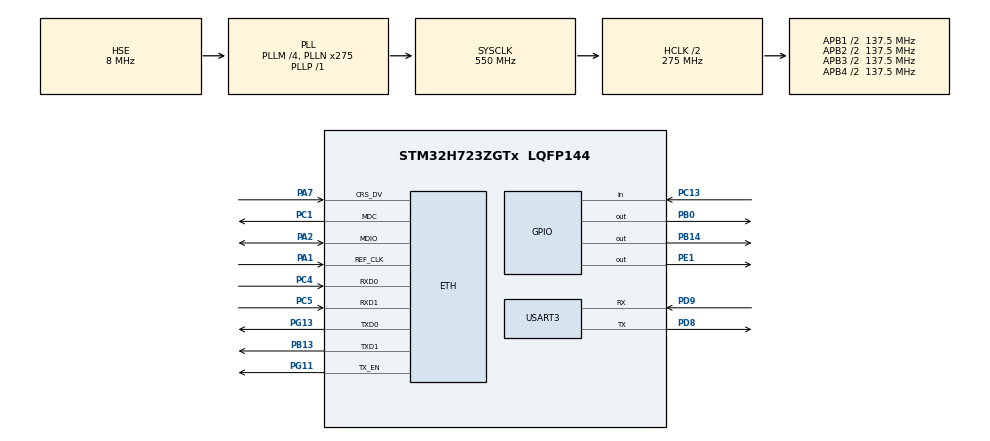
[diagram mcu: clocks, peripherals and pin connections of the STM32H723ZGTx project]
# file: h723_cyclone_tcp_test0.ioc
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CORTEX_M7.default_mode_Activation=1
Dma.Request0=USART3_RX
Dma.USART3_RX.0.Direction=DMA_PERIPH_TO_MEMORY
Dma.USART3_RX.0.EventEnable=DISABLE
Dma.USART3_RX.0.FIFOMode=DMA_FIFOMODE_DISABLE
Dma.USART3_RX.0.Instance=DMA1_Stream0
Dma.USART3_RX.0.MemDataAlignment=DMA_MDATAALIGN_BYTE
Dma.USART3_RX.0.MemInc=DMA_MINC_ENABLE
Dma.USART3_RX.0.Mode=DMA_CIRCULAR
Dma.USART3_RX.0.PeriphDataAlignment=DMA_PDATAALIGN_BYTE
Dma.USART3_RX.0.PeriphInc=DMA_PINC_DISABLE
Dma.USART3_RX.0.Polarity=HAL_DMAMUX_REQ_GEN_RISING
Dma.USART3_RX.0.Priority=DMA_PRIORITY_LOW
Dma.USART3_RX.0.RequestNumber=1
Dma.USART3_RX.0.SignalID=NONE
Dma.USART3_RX.0.SyncEnable=DISABLE
Dma.USART3_RX.0.SyncPolarity=HAL_DMAMUX_SYNC_NO_EVENT
Dma.USART3_RX.0.SyncRequestNumber=1
Dma.USART3_RX.0.SyncSignalID=NONE
ETH.MediaInterface=HAL_ETH_RMII_MODE
FREERTOS.INCLUDE_vTaskDelayUntil=1
FREERTOS.Tasks01=defaultTask,0,128,StartDefaultTask,Default,NULL,Dynamic,NULL,NULL
FREERTOS.configENABLE_FPU=1
FREERTOS.configGENERATE_RUN_TIME_STATS=1
FREERTOS.configRECORD_STACK_HIGH_ADDRESS=1
FREERTOS.configTOTAL_HEAP_SIZE=32768
FREERTOS.configUSE_COUNTING_SEMAPHORES=1
FREERTOS.configUSE_IDLE_HOOK=0
FREERTOS.configUSE_NEWLIB_REENTRANT=1
FREERTOS.configUSE_RECURSIVE_MUTEXES=1
FREERTOS.configUSE_STATS_FORMATTING_FUNCTIONS=1
FREERTOS.configUSE_TICK_HOOK=1
FREERTOS.configUSE_TRACE_FACILITY=1
Mcu.Family=STM32H7
Mcu.Name=STM32H723ZGTx
Mcu.Package=LQFP144
NUCLEO-H723ZG.BUTTON=1
NUCLEO-H723ZG.Bsp_Common_DEMO=true
NUCLEO-H723ZG.LD1=true
NUCLEO-H723ZG.LD2=true
NUCLEO-H723ZG.LD3=true
NUCLEO-H723ZG.VCP=false
NVIC.DMA1_Stream0_IRQn=true\:5\:0\:false\:false\:false\:true\:false\:true\:true
NVIC.EXTI15_10_IRQn=true\:5\:0\:false\:false\:true\:true\:false\:true\:true
NVIC.PriorityGroup=NVIC_PRIORITYGROUP_4
NVIC.TIM23_IRQn=true\:15\:0\:false\:false\:true\:false\:false\:true\:true
NVIC.TimeBase=TIM23_IRQn
NVIC.TimeBaseIP=TIM23
NVIC.USART3_IRQn=true\:5\:0\:false\:false\:false\:true\:true\:true\:true
Oryx-Embedded.Middleware.2.5.2.CycloneCommonCcCycloneCommonJjCompilerOoSupport=true
Oryx-Embedded.Middleware.2.5.2.CycloneCommonCcCycloneCommonJjDateOoTimeOoHelperOoRoutines=true
Oryx-Embedded.Middleware.2.5.2.CycloneCommonCcCycloneCommonJjRTOSOoPortJjFreeRTOSOoPort=true
Oryx-Embedded.Middleware.2.5.2.CycloneCommonCcCycloneCommonJjStringOoHelperOoRoutines=true
Oryx-Embedded.Middleware.2.5.2.CycloneTCPCcCycloneTCPJjCore=true
Oryx-Embedded.Middleware.2.5.2.CycloneTCPCcCycloneTCPJjDHCPJjDHCPOoClient=true
Oryx-Embedded.Middleware.2.5.2.CycloneTCPCcCycloneTCPJjDHCPJjDHCPOoServer=true
Oryx-Embedded.Middleware.2.5.2.CycloneTCPCcCycloneTCPJjDNSJjDNSOoClient=true
Oryx-Embedded.Middleware.2.5.2.CycloneTCPCcCycloneTCPJjDriversOoDdMACEeJjSTM32H7xx=true
Oryx-Embedded.Middleware.2.5.2.CycloneTCPCcCycloneTCPJjDriversOoDdPHYEeJjLAN8742=true
Oryx-Embedded.Middleware.2.5.2.CycloneTCPCcCycloneTCPJjHTTPJjHTTPOoClient=TCP
Oryx-Embedded.Middleware.2.5.2.CycloneTCPCcCycloneTCPJjIGMPJjIGMPOoHost=true
Oryx-Embedded.Middleware.2.5.2.CycloneTCPCcCycloneTCPJjIPv4JjAutoAaIP=true
Oryx-Embedded.Middleware.2.5.2.CycloneTCPCcCycloneTCPJjIPv4JjCore=true
Oryx-Embedded.Middleware.2.5.2.CycloneTCPCcCycloneTCPJjPingJjCore=true
Oryx-Embedded.Middleware.2.5.2.CycloneTCPCcCycloneTCPJjSocket=true
Oryx-Embedded.Middleware.2.5.2.CycloneTCPCcCycloneTCPJjTCP=true
Oryx-Embedded.Middleware.2.5.2.CycloneTCPCcCycloneTCPJjUDP=true
Oryx-Embedded.Middleware.2.5.2.CycloneTCPCcCycloneTCPJjmDNSJjmDNSOoClient=true
Oryx-Embedded.Middleware.2.5.2.CycloneTCPCcCycloneTCPJjmDNSJjmDNSOoResponder=true
PA1.Mode=RMII
PA1.Signal=ETH_REF_CLK
PA13(JTMS/SWDIO).GPIO_Label=SWDIO
PA13(JTMS/SWDIO).Mode=Serial_Wire
PA13(JTMS/SWDIO).Signal=DEBUG_JTMS-SWDIO
PA14(JTCK/SWCLK).GPIO_Label=SWCLK
PA14(JTCK/SWCLK).Mode=Serial_Wire
PA14(JTCK/SWCLK).Signal=DEBUG_JTCK-SWCLK
PA2.Mode=RMII
PA2.Signal=ETH_MDIO
PA7.Mode=RMII
PA7.Signal=ETH_CRS_DV
PB0.Signal=GPIO_Output
PB13.Mode=RMII
PB13.Signal=ETH_TXD1
PB14.Signal=GPIO_Output
PC1.Mode=RMII
PC1.Signal=ETH_MDC
PC13.Signal=GPIO_Input
PC14-OSC32_IN.Mode=LSE-External-Oscillator
PC14-OSC32_IN.Signal=RCC_OSC32_IN
PC15-OSC32_OUT.Mode=LSE-External-Oscillator
PC15-OSC32_OUT.Signal=RCC_OSC32_OUT
PC4.Mode=RMII
PC4.Signal=ETH_RXD0
PC5.Mode=RMII
PC5.Signal=ETH_RXD1
PD8.Mode=Asynchronous
PD8.Signal=USART3_TX
PD9.Mode=Asynchronous
PD9.Signal=USART3_RX
PE1.Signal=GPIO_Output
PG11.Mode=RMII
PG11.Signal=ETH_TX_EN
PG13.Mode=RMII
PG13.Signal=ETH_TXD0
PH0-OSC_IN.Mode=HSE-External-Clock-Source
PH0-OSC_IN.Signal=RCC_OSC_IN
ProjectManager.HeapSize=0x800
ProjectManager.StackSize=0x800
ProjectManager.TargetToolchain=STM32CubeIDE
RCC.ADCFreq_Value=76000000
RCC.APB1Freq_Value=137500000
RCC.APB2Freq_Value=137500000
RCC.APB3Freq_Value=137500000
RCC.APB4Freq_Value=137500000
RCC.CortexFreq_Value=550000000
RCC.D1PPRE=RCC_APB3_DIV2
RCC.D2PPRE1=RCC_APB1_DIV2
RCC.D2PPRE2=RCC_APB2_DIV2
RCC.D3PPRE=RCC_APB4_DIV2
RCC.DIVM1=4
RCC.DIVM2=1
RCC.DIVN1=275
RCC.DIVN2=19
RCC.DIVP1=1
RCC.DIVQ1=4
RCC.HCLKFreq_Value=275000000
RCC.HPRE=RCC_HCLK_DIV2
RCC.HSE_VALUE=8000000
RCC.PLLFRACN=0
RCC.PLLSourceVirtual=RCC_PLLSOURCE_HSE
RCC.SYSCLKFreq_VALUE=550000000
RCC.SYSCLKSource=RCC_SYSCLKSOURCE_PLLCLK
RCC.USBCLockSelection=RCC_USBCLKSOURCE_HSI48
RCC.USBFreq_Value=48000000
USART3.VirtualMode-Asynchronous=VM_ASYNC
VP_FREERTOS_VS_CMSIS_V1.Mode=CMSIS_V1
VP_MEMORYMAP_VS_MEMORYMAP.Mode=CurAppReg
VP_NUCLEO-H723ZG_VS_BSP_COMMON.Mode=COMMON
VP_Oryx-Embedded.Middleware_VS_CycloneCommonJjCycloneCommon_2.5.2_2.5.2.Mode=CycloneCommonJjCycloneCommon
VP_Oryx-Embedded.Middleware_VS_CycloneTCPJjCycloneTCP_2.5.2_2.5.2.Mode=CycloneTCPJjCycloneTCP
VP_SYS_VS_tim23.Mode=TIM23
board=NUCLEO-H723ZG

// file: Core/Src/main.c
/* USER CODE BEGIN Header */
/**
  ******************************************************************************
  * @file           : main.c
  * @brief          : Main program body
  ******************************************************************************
  * @attention
  *
  * Copyright (c) 2025 STMicroelectronics.
  * All rights reserved.
  *
  * This software is licensed under terms that can be found in the LICENSE file
  * in the root directory of this software component.
  * If no LICENSE file comes with this software, it is provided AS-IS.
  *
  ******************************************************************************
  */
/* USER CODE END Header */
#include "main.h"
#include "cmsis_os.h"
#include "dma.h"
#include "eth.h"
#include "memorymap.h"
#include "usart.h"
#include "gpio.h"

/* USER CODE BEGIN Includes */
#include <stdlib.h>
#include <stdio.h>
#include <inttypes.h>

//#include "UARTCommandConsole.h"

#include "SerialTask.h"
#include "TelnetTask.h"
#include "CommandConsoleTask.h"
#include "Sample-CLI-commands.h"

#include "CommandConsoleDualTask.h"

#include "core/net.h"
#include "drivers/mac/stm32h7xx_eth_driver.h"
#include "drivers/phy/lan8742_driver.h"
#include "dhcp/dhcp_client.h"
#include "ipv6/slaac.h"
#include "mdns/mdns_responder.h"
#include "http/http_client.h"
#include "icmp.h"
#include "debug.h"

#include "udpard.h"

/* USER CODE END Includes */

/* USER CODE BEGIN PD */

//Ethernet interface configuration
#define APP_IF_NAME "eth0"
#define APP_HOST_NAME "http-client-demo"
#define APP_MAC_ADDR "00-AB-CD-EF-07-43"

//#define APP_USE_DHCP_CLIENT ENABLED
#define APP_USE_DHCP_CLIENT DISABLED
#define APP_IPV4_HOST_ADDR "192.168.0.20"
#define APP_IPV4_SUBNET_MASK "255.255.255.0"
#define APP_IPV4_DEFAULT_GATEWAY "192.168.0.254"
#define APP_IPV4_PRIMARY_DNS "8.8.8.8"
#define APP_IPV4_SECONDARY_DNS "8.8.4.4"

#define APP_USE_SLAAC DISABLED
//#define APP_IPV6_LINK_LOCAL_ADDR "fe80::743"
//#define APP_IPV6_PREFIX "2001:db8::"
//#define APP_IPV6_PREFIX_LENGTH 64
//#define APP_IPV6_GLOBAL_ADDR "2001:db8::743"
//#define APP_IPV6_ROUTER "fe80::1"
//#define APP_IPV6_PRIMARY_DNS "2001:4860:4860::8888"
//#define APP_IPV6_SECONDARY_DNS "2001:4860:4860::8844"

//Application configuration
#define APP_HTTP_SERVER_NAME "www.httpbin.org"
#define APP_HTTP_SERVER_PORT 80
#define APP_HTTP_URI "/anything"

/* USER CODE END PD */

__IO uint32_t BspButtonState = BUTTON_RELEASED;

/* USER CODE BEGIN PV */

//Global variables
DhcpClientSettings dhcpClientSettings;
DhcpClientContext dhcpClientContext;
SlaacSettings slaacSettings;
SlaacContext slaacContext;
MdnsResponderSettings mdnsResponderSettings;
MdnsResponderContext mdnsResponderContext;
HttpClientContext httpClientContext;

//static xComPortHandle comPortHandle = NULL;

/* USER CODE END PV */

void SystemClock_Config(void);
static void MPU_Config(void);
void MX_FREERTOS_Init(void);
/* USER CODE BEGIN PFP */

void initTask(void);
error_t httpClientTest(void);
void userTask(void *param);
void ledTask(void *param);

#ifdef configUSE_TICK_HOOK
static volatile uint64_t xTickCount64 = 0;
void vApplicationTickHook( void ){
	xTickCount64++;
}
uint64_t xTaskGetTickCount64(void){
	uint64_t value;
	taskENTER_CRITICAL();
	value = xTickCount64;
	taskEXIT_CRITICAL();
	return value;
}
#endif // configUSE_TICK_HOOK

/**
 * @brief User task
 * @param[in] param Unused parameter
 **/

void userTask(void *param)
{
   //Endless loop
   while(1)
   {
      //User button pressed?
      if(BSP_PB_GetState(BUTTON_USER))
      {
         //HTTP client test routine
         httpClientTest();

         //Wait for the user button to be released
         while(BSP_PB_GetState(BUTTON_USER));
      }

      //Loop delay
      osDelayTask(100);
   }
}

/**
 * @brief LED task
 * @param[in] param Unused parameter
 **/

void pvGreenLEDTask(void *param)
{
   //Endless loop
   while(1)
   {
      BSP_LED_Toggle(LED_GREEN);
      osDelayTask(100);
   }
}

void pvRedLEDTask(void *pvParams){
	   while(1)
	   {
	      BSP_LED_Toggle(LED_RED);
	      osDelayTask(200);
	      //printf("%0.3f\r\n", (float)xTaskGetTickCount64()/(float)configTICK_RATE_HZ );
	   }
}

/**
 * @brief Initialization task
 * @param[in] param Unused parameter
 **/

void initTask(void)
{
   error_t error;

   NetInterface *interface;
   MacAddr macAddr;

   #if (APP_USE_DHCP_CLIENT == DISABLED)
      Ipv4Addr ipv4Addr;
   #endif

   //TCP/IP stack initialization
   error = netInit();
   configASSERT(NO_ERROR==error);
   TRACE_INFO("Initialized TCP/IP Stack...\r\n");

   //Configure the first Ethernet interface
   interface = &netInterface[0];

   //Set interface name
   error = netSetInterfaceName(interface, APP_IF_NAME);
   configASSERT(NO_ERROR==error);
   TRACE_INFO("Set interface name to [%s]...\r\n", APP_IF_NAME);

   //Set host name
   error = netSetHostname(interface, APP_HOST_NAME);
   configASSERT(NO_ERROR==error);
   TRACE_INFO("Set hostname to [%s]...\r\n", APP_HOST_NAME);

   //Set host MAC address
   macStringToAddr(APP_MAC_ADDR, &macAddr);
   error = netSetMacAddr(interface, &macAddr);
   configASSERT(NO_ERROR==error);
   TRACE_INFO("Set MAC address to [%s]...\r\n", APP_MAC_ADDR);

   //Select the relevant network adapter
   netSetDriver(interface, &stm32h7xxEthDriver);
   error = netSetPhyDriver(interface, &lan8742PhyDriver);
   configASSERT(NO_ERROR==error);
   TRACE_INFO("Set PHY driver...\r\n");

   //Initialize network interface
   error = netConfigInterface(interface);
   configASSERT(NO_ERROR==error);
   TRACE_INFO("Configured network interface...\r\n");

   #if (IPV4_SUPPORT == ENABLED)

	   #if (APP_USE_DHCP_CLIENT == ENABLED)

	   //Get default settings
	   dhcpClientGetDefaultSettings(&dhcpClientSettings);
	   //Set the network interface to be configured by DHCP
	   dhcpClientSettings.interface = interface;
	   //Disable rapid commit option
	   dhcpClientSettings.rapidCommit = FALSE;

	   //DHCP client initialization
	   error = dhcpClientInit(&dhcpClientContext, &dhcpClientSettings);
	   configASSERT(NO_ERROR==error);
	   TRACE_INFO("Initializes DHCP client...\r\n");

	   error = dhcpClientStart(&dhcpClientContext);
	   configASSERT(NO_ERROR==error);
	   TRACE_INFO("Started DHCP client...\r\n");

   	   #else

		   //Set IPv4 host address manually....
		   ipv4StringToAddr(APP_IPV4_HOST_ADDR, &ipv4Addr);
		   ipv4SetHostAddr(interface, ipv4Addr);

		   //Set subnet mask
		   ipv4StringToAddr(APP_IPV4_SUBNET_MASK, &ipv4Addr);
		   ipv4SetSubnetMask(interface, ipv4Addr);

		   //Set default gateway
		   ipv4StringToAddr(APP_IPV4_DEFAULT_GATEWAY, &ipv4Addr);
		   ipv4SetDefaultGateway(interface, ipv4Addr);

		   //Set primary and secondary DNS servers
		   ipv4StringToAddr(APP_IPV4_PRIMARY_DNS, &ipv4Addr);
		   ipv4SetDnsServer(interface, 0, ipv4Addr);
		   ipv4StringToAddr(APP_IPV4_SECONDARY_DNS, &ipv4Addr);
		   ipv4SetDnsServer(interface, 1, ipv4Addr);

	   #endif

   #endif

   //Get default settings
   mdnsResponderGetDefaultSettings(&mdnsResponderSettings);
   //Underlying network interface
   mdnsResponderSettings.interface = &netInterface[0];

   //mDNS responder initialization
   error = mdnsResponderInit(&mdnsResponderContext, &mdnsResponderSettings);
   configASSERT(NO_ERROR==error);
   TRACE_INFO("Initialized mDNS responder...\r\n");

   //Set mDNS hostname
   error = mdnsResponderSetHostname(&mdnsResponderContext, APP_HOST_NAME);
   configASSERT(NO_ERROR==error);
   TRACE_INFO("mDNS set hostname...\r\n");

   //Start mDNS responder
   error = mdnsResponderStart(&mdnsResponderContext);
   configASSERT(NO_ERROR==error);
   TRACE_INFO("Started mDNS responder...\r\n");

   error = icmpEnableEchoRequests(interface, TRUE);
   configASSERT(NO_ERROR==error);
   TRACE_INFO("Enabled ICMP requests...\r\n");

} // initTask

/**
 * @brief HTTP client test routine
 * @return Error code
 **/

error_t httpClientTest(void)
{
   error_t error;
   size_t length;
   uint_t status;
   const char_t *value;
   IpAddr ipAddr;
   char_t buffer[128];

   //Initialize HTTP client context
   httpClientInit(&httpClientContext);

   //Start of exception handling block
   do
   {
      //Debug message
      TRACE_INFO("\r\n\r\nResolving server name...\r\n");

      //Resolve HTTP server name
      error = getHostByName(NULL, APP_HTTP_SERVER_NAME, &ipAddr, 0);
      //Any error to report?
      if(error)
      {
         //Debug message
         TRACE_INFO("Failed to resolve server name!\r\n");
         break;
      }

      //Select HTTP protocol version
      error = httpClientSetVersion(&httpClientContext, HTTP_VERSION_1_1);
      //Any error to report?
      if(error)
         break;

      //Set timeout value for blocking operations
      error = httpClientSetTimeout(&httpClientContext, 20000);
      //Any error to report?
      if(error)
         break;

      //Debug message
      TRACE_INFO("Connecting to HTTP server %s...\r\n",
         ipAddrToString(&ipAddr, NULL));

      //Connect to the HTTP server
      error = httpClientConnect(&httpClientContext, &ipAddr,
         APP_HTTP_SERVER_PORT);
      //Any error to report?
      if(error)
      {
         //Debug message
         TRACE_INFO("Failed to connect to HTTP server!\r\n");
         break;
      }

      //Create an HTTP request
      httpClientCreateRequest(&httpClientContext);
      httpClientSetMethod(&httpClientContext, "POST");
      httpClientSetUri(&httpClientContext, APP_HTTP_URI);

      //Set the hostname and port number of the resource being requested
      httpClientSetHost(&httpClientContext, APP_HTTP_SERVER_NAME,
         APP_HTTP_SERVER_PORT);

      //Set query string
      httpClientAddQueryParam(&httpClientContext, "param1", "value1");
      httpClientAddQueryParam(&httpClientContext, "param2", "value2");

      //Add HTTP header fields
      httpClientAddHeaderField(&httpClientContext, "User-Agent", "Mozilla/5.0");
      httpClientAddHeaderField(&httpClientContext, "Content-Type", "text/plain");
      httpClientAddHeaderField(&httpClientContext, "Transfer-Encoding", "chunked");

      //Send HTTP request header
      error = httpClientWriteHeader(&httpClientContext);
      //Any error to report?
      if(error)
      {
         //Debug message
         TRACE_INFO("Failed to write HTTP request header!\r\n");
         break;
      }

      //Send HTTP request body
      error = httpClientWriteBody(&httpClientContext, "Hello World!", 12,
         NULL, 0);
      //Any error to report?
      if(error)
      {
         //Debug message
         TRACE_INFO("Failed to write HTTP request body!\r\n");
         break;
      }

      //Receive HTTP response header
      error = httpClientReadHeader(&httpClientContext);
      //Any error to report?
      if(error)
      {
         //Debug message
         TRACE_INFO("Failed to read HTTP response header!\r\n");
         break;
      }

      //Retrieve HTTP status code
      status = httpClientGetStatus(&httpClientContext);
      //Debug message
      TRACE_INFO("HTTP status code: %u\r\n", status);

      //Retrieve the value of the Content-Type header field
      value = httpClientGetHeaderField(&httpClientContext, "Content-Type");

      //Header field found?
      if(value != NULL)
      {
         //Debug message
         TRACE_INFO("Content-Type header field value: %s\r\n", value);
      }
      else
      {
         //Debug message
         TRACE_INFO("Content-Type header field not found!\r\n");
      }

      //Receive HTTP response body
      while(!error)
      {
         //Read data
         error = httpClientReadBody(&httpClientContext, buffer,
            sizeof(buffer) - 1, &length, 0);

         //Check status code
         if(!error)
         {
            //Properly terminate the string with a NULL character
            buffer[length] = '\0';
            //Dump HTTP response body
            TRACE_INFO("%s", buffer);
         }
      }

      //Terminate the HTTP response body with a CRLF
      TRACE_INFO("\r\n");

      //Any error to report?
      if(error != ERROR_END_OF_STREAM)
         break;

      //Close HTTP response body
      error = httpClientCloseBody(&httpClientContext);
      //Any error to report?
      if(error)
      {
         //Debug message
         TRACE_INFO("Failed to read HTTP response trailer!\r\n");
         break;
      }

      //Gracefully disconnect from the HTTP server
      httpClientDisconnect(&httpClientContext);

      //Debug message
      TRACE_INFO("Connection closed\r\n");

      //End of exception handling block
   } while(0);

   //Release HTTP client context
   httpClientDeinit(&httpClientContext);

   //Return status code
   return error;

} // httpClientTest

/* USER CODE END PFP */

/* USER CODE BEGIN 0 */
//int _write(int le, char *ptr, int len){
//	HAL_UART_Transmit(&huart3, (uint8_t *)ptr, len, 100);
//	return len;
//}

/**
 * @brief Display the contents of an array
 * @param[in] stream Pointer to a FILE object that identifies an output stream
 * @param[in] prepend String to prepend to the left of each line
 * @param[in] data Pointer to the data array
 * @param[in] length Number of bytes to display
 **/

void debugDisplayArray(FILE *stream,
   const char_t *prepend, const void *data, size_t length)
{
   uint_t i;

   for(i = 0; i < length; i++)
   {
      //Beginning of a new line?
      if((i % 16) == 0)
         fprintf(stream, "%s", prepend);
      //Display current data byte

      fprintf(stream, "%02" PRIX8 " ", *((uint8_t *) data + i));
      //End of current line?
      if((i % 16) == 15 || i == (length - 1))
         fprintf(stream, "\r\n");
   }
}

/* USER CODE END 0 */

int main(void)
{

  /* USER CODE BEGIN 1 */
	error_t error;
	OsTaskId taskId;
	OsTaskParameters taskParams;

  /* USER CODE END 1 */

  /* MPU Configuration--------------------------------------------------------*/
  MPU_Config();

  /* MCU Configuration--------------------------------------------------------*/

  /* Reset of all peripherals, Initializes the Flash interface and the Systick. */
  HAL_Init();

  /* Configure the system clock */
  SystemClock_Config();

  /* Initialize all configured peripherals */
  MX_GPIO_Init();
  MX_DMA_Init();
  MX_ETH_Init();
  MX_USART3_UART_Init();
  /* USER CODE BEGIN 2 */

  taskParams = OS_TASK_DEFAULT_PARAMS;
  taskParams.stackSize = 1024;  /* Increased from 512 to eliminate WARNING status */
  taskParams.priority = OS_TASK_PRIORITY_NORMAL+1;

  taskId = osCreateTask( "GRN", pvGreenLEDTask, NULL, &taskParams);
  //taskId = osCreateTask( "RED", pvRedLEDTask, NULL, &taskParams );

  BaseType_t ret;
  ret = xTaskCreate( pvRedLEDTask, "RED", 1024, NULL, 4, NULL );  /* Increased from 512 to eliminate warnings */
  configASSERT(ret == pdPASS);

  //xUARTCommandConsoleStart( configUART_COMMAND_CONSOLE_STACK, 2 );
  //vRegisterSampleCLICommands();

  //xSerialPortInitMinimal(115200);

  vSerialTaskInit( tskIDLE_PRIORITY+1, tskIDLE_PRIORITY+1 );

  xTelnetTaskStart( tskIDLE_PRIORITY+1 );

  //vCommandConsoleInit(xSerialTaskGetRxStreamHandle(), xSerialTaskGetTxStreamHandle(), 0, 0);
  //vCommandConsoleInit(xTelnetTaskGetRxStreamHandle(), xTelnetTaskGetTxStreamHandle(), 0, 0);

  vCommandConsoleDualInit(	xSerialTaskGetRxStreamHandle(),
		  	  	  	  	  	xSerialTaskGetTxStreamHandle(),
							xTelnetTaskGetRxStreamHandle(),
							xTelnetTaskGetTxStreamHandle() );

  vRegisterSampleCLICommands();\n  \n  /* Register custom CLI commands */\n  vRegisterStackMonitorCLICommands();\n  uavcanCliRegisterCommands();

  /* USER CODE END 2 */

  /* Call init function for freertos objects (in cmsis_os2.c) */
  MX_FREERTOS_Init();

  /* Initialize leds */
  BSP_LED_Init(LED_GREEN);
  BSP_LED_Init(LED_YELLOW);
  BSP_LED_Init(LED_RED);

  /* Initialize USER push-button, will be used to trigger an interrupt each time it's pressed.*/
  BSP_PB_Init(BUTTON_USER, BUTTON_MODE_EXTI);

  /* USER CODE BEGIN BSP */

  //comPortHandle = xSerialPortInitMinimal(115200,  configCOMMAND_INT_MAX_OUTPUT_SIZE);
  //xUARTCommandConsoleSetPort( comPortHandle );

  /* -- Sample board code to send message over COM1 port ---- */
  printf("Welcome to STM32 world !\r\n");

  /* -- Sample board code to switch on leds ---- */
  BSP_LED_On(LED_GREEN);
  BSP_LED_On(LED_YELLOW);
  BSP_LED_On(LED_RED);

  initTask();

  //error = httpClientTest();

  /* USER CODE END BSP */

  /* Start scheduler */
  osKernelStart();

  /* We should never get here as control is now taken by the scheduler */

  /* Infinite loop */
  /* USER CODE BEGIN WHILE */
  while (1)
  {

    /* -- Sample board code for User push-button in interrupt mode ---- */
    if (BspButtonState == BUTTON_PRESSED)
    {
      /* Update button state */
      BspButtonState = BUTTON_RELEASED;
      /* -- Sample board code to toggle leds ---- */
      BSP_LED_Toggle(LED_GREEN);
      BSP_LED_Toggle(LED_YELLOW);
      BSP_LED_Toggle(LED_RED);

      /* ..... Perform your action ..... */
    }
    /* USER CODE END WHILE */

  }
}

void SystemClock_Config(void)
{
  RCC_OscInitTypeDef RCC_OscInitStruct = {0};
  RCC_ClkInitTypeDef RCC_ClkInitStruct = {0};

  /** Supply configuration update enable
  */
  HAL_PWREx_ConfigSupply(PWR_LDO_SUPPLY);

  /** Configure the main internal regulator output voltage
  */
  __HAL_PWR_VOLTAGESCALING_CONFIG(PWR_REGULATOR_VOLTAGE_SCALE0);

  while(!__HAL_PWR_GET_FLAG(PWR_FLAG_VOSRDY)) {}

  /** Initializes the RCC Oscillators according to the specified parameters
  * in the RCC_OscInitTypeDef structure.
  */
  RCC_OscInitStruct.OscillatorType = RCC_OSCILLATORTYPE_HSE;
  RCC_OscInitStruct.HSEState = RCC_HSE_BYPASS;
  RCC_OscInitStruct.PLL.PLLState = RCC_PLL_ON;
  RCC_OscInitStruct.PLL.PLLSource = RCC_PLLSOURCE_HSE;
  RCC_OscInitStruct.PLL.PLLM = 4;
  RCC_OscInitStruct.PLL.PLLN = 275;
  RCC_OscInitStruct.PLL.PLLP = 1;
  RCC_OscInitStruct.PLL.PLLQ = 4;
  RCC_OscInitStruct.PLL.PLLR = 2;
  RCC_OscInitStruct.PLL.PLLRGE = RCC_PLL1VCIRANGE_1;
  RCC_OscInitStruct.PLL.PLLVCOSEL = RCC_PLL1VCOWIDE;
  RCC_OscInitStruct.PLL.PLLFRACN = 0;
  if (HAL_RCC_OscConfig(&RCC_OscInitStruct) != HAL_OK)
  {
    Error_Handler();
  }

  /** Initializes the CPU, AHB and APB buses clocks
  */
  RCC_ClkInitStruct.ClockType = RCC_CLOCKTYPE_HCLK|RCC_CLOCKTYPE_SYSCLK
                              |RCC_CLOCKTYPE_PCLK1|RCC_CLOCKTYPE_PCLK2
                              |RCC_CLOCKTYPE_D3PCLK1|RCC_CLOCKTYPE_D1PCLK1;
  RCC_ClkInitStruct.SYSCLKSource = RCC_SYSCLKSOURCE_PLLCLK;
  RCC_ClkInitStruct.SYSCLKDivider = RCC_SYSCLK_DIV1;
  RCC_ClkInitStruct.AHBCLKDivider = RCC_HCLK_DIV2;
  RCC_ClkInitStruct.APB3CLKDivider = RCC_APB3_DIV2;
  RCC_ClkInitStruct.APB1CLKDivider = RCC_APB1_DIV2;
  RCC_ClkInitStruct.APB2CLKDivider = RCC_APB2_DIV2;
  RCC_ClkInitStruct.APB4CLKDivider = RCC_APB4_DIV2;

  if (HAL_RCC_ClockConfig(&RCC_ClkInitStruct, FLASH_LATENCY_3) != HAL_OK)
  {
    Error_Handler();
  }
}

 /* MPU Configuration */

void MPU_Config(void)
{
  MPU_Region_InitTypeDef MPU_InitStruct = {0};

  /* Disables the MPU */
  HAL_MPU_Disable();

  /** Initializes and configures the Region and the memory to be protected
  */
  MPU_InitStruct.Enable = MPU_REGION_ENABLE;
  MPU_InitStruct.Number = MPU_REGION_NUMBER0;
  MPU_InitStruct.BaseAddress = 0x0;
  MPU_InitStruct.Size = MPU_REGION_SIZE_4GB;
  MPU_InitStruct.SubRegionDisable = 0x87;
  MPU_InitStruct.TypeExtField = MPU_TEX_LEVEL0;
  MPU_InitStruct.AccessPermission = MPU_REGION_NO_ACCESS;
  MPU_InitStruct.DisableExec = MPU_INSTRUCTION_ACCESS_DISABLE;
  MPU_InitStruct.IsShareable = MPU_ACCESS_SHAREABLE;
  MPU_InitStruct.IsCacheable = MPU_ACCESS_NOT_CACHEABLE;
  MPU_InitStruct.IsBufferable = MPU_ACCESS_NOT_BUFFERABLE;

  HAL_MPU_ConfigRegion(&MPU_InitStruct);
  /* Enables the MPU */
  HAL_MPU_Enable(MPU_PRIVILEGED_DEFAULT);

}

void HAL_TIM_PeriodElapsedCallback(TIM_HandleTypeDef *htim)
{
  if (htim->Instance == TIM23)
  {
    HAL_IncTick();
  }
}

/**
  * @brief BSP Push Button callback
  * @param Button Specifies the pressed button
  * @retval None
  */
void BSP_PB_Callback(Button_TypeDef Button)
{
  if (Button == BUTTON_USER)
  {
    BspButtonState = BUTTON_PRESSED;
  }
}

void Error_Handler(void)
{
  __disable_irq();
  while (1)
  {
  }
}

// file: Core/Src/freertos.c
/* USER CODE BEGIN Header */
/**
  ******************************************************************************
  * File Name          : freertos.c
  * Description        : Code for freertos applications
  ******************************************************************************
  * @attention
  *
  * Copyright (c) 2025 STMicroelectronics.
  * All rights reserved.
  *
  * This software is licensed under terms that can be found in the LICENSE file
  * in the root directory of this software component.
  * If no LICENSE file comes with this software, it is provided AS-IS.
  *
  ******************************************************************************
  */
/* USER CODE END Header */

#include "FreeRTOS.h"
#include "task.h"
#include "main.h"
#include "cmsis_os.h"

osThreadId defaultTaskHandle;

void StartDefaultTask(void const * argument);

void MX_FREERTOS_Init(void); /* (MISRA C 2004 rule 8.1) */

/* GetIdleTaskMemory prototype (linked to static allocation support) */
void vApplicationGetIdleTaskMemory( StaticTask_t **ppxIdleTaskTCBBuffer, StackType_t **ppxIdleTaskStackBuffer, uint32_t *pulIdleTaskStackSize );

/* Hook prototypes */
void configureTimerForRunTimeStats(void);
unsigned long getRunTimeCounterValue(void);
void vApplicationTickHook(void);

/* USER CODE BEGIN 1 */
/* Functions needed when configGENERATE_RUN_TIME_STATS is on */
__weak void configureTimerForRunTimeStats(void)
{

}

__weak unsigned long getRunTimeCounterValue(void)
{
return 0;
}
/* USER CODE END 1 */

/* USER CODE BEGIN 3 */
__weak void vApplicationTickHook( void )
{
   /* This function will be called by each tick interrupt if
   configUSE_TICK_HOOK is set to 1 in FreeRTOSConfig.h. User code can be
   added here, but the tick hook is called from an interrupt context, so
   code must not attempt to block, and only the interrupt safe FreeRTOS API
   functions can be used (those that end in FromISR()). */
}
/* USER CODE END 3 */

/* USER CODE BEGIN GET_IDLE_TASK_MEMORY */
static StaticTask_t xIdleTaskTCBBuffer;
static StackType_t xIdleStack[configMINIMAL_STACK_SIZE];

void vApplicationGetIdleTaskMemory( StaticTask_t **ppxIdleTaskTCBBuffer, StackType_t **ppxIdleTaskStackBuffer, uint32_t *pulIdleTaskStackSize )
{
  *ppxIdleTaskTCBBuffer = &xIdleTaskTCBBuffer;
  *ppxIdleTaskStackBuffer = &xIdleStack[0];
  *pulIdleTaskStackSize = configMINIMAL_STACK_SIZE;
  /* place for user code */
}
/* USER CODE END GET_IDLE_TASK_MEMORY */

void MX_FREERTOS_Init(void) {

  /* Create the thread(s) */
  /* definition and creation of defaultTask */
  osThreadDef(defaultTask, StartDefaultTask, osPriorityNormal, 0, 512);  /* Increased from 128 */
  defaultTaskHandle = osThreadCreate(osThread(defaultTask), NULL);

}

void StartDefaultTask(void const * argument)
{
  for(;;)
  {
    osDelay(1);
  }
}
